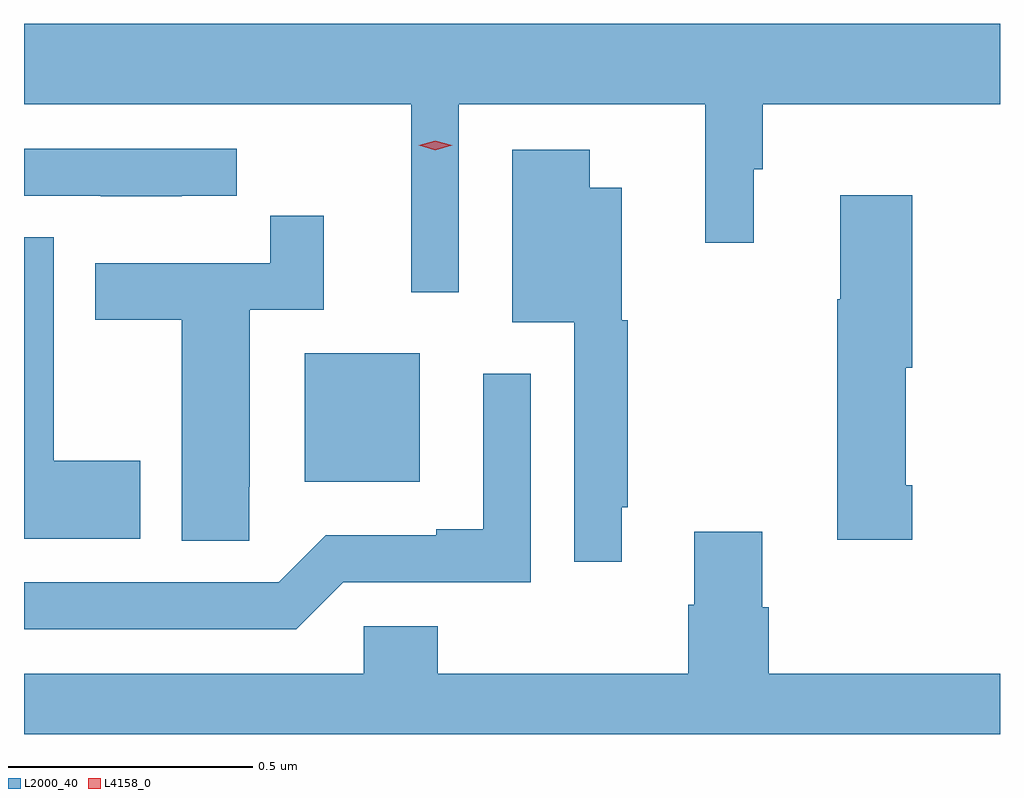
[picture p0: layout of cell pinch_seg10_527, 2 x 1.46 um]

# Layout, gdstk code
import gdstk
lib = gdstk.Library(unit=1e-6, precision=1e-09)
def R(c, l, rs):  # rectangles x0, y0, x1, y1
    for r in rs: c.add(gdstk.rectangle(r[:2], r[2:], *l))
def P(c, l, *ps):  # polygons
    for p in ps: c.add(gdstk.Polygon(p, *l))
L2000_40 = (2000, 40)
L4158_0 = (4158, 0)

pinch_seg10_527 = lib.new_cell('pinch_seg10_527')
R(pinch_seg10_527, L2000_40, [(202.658,1300.874,202.894,1301.137)])
P(pinch_seg10_527, L2000_40, [(202.974,1301.648),(203.479,1301.648),(203.479,1301.364),(203.578,1301.364),(203.578,1301.514),(203.597,1301.514),(203.597,1301.648),(204.083,1301.648),(204.083,1301.812),(202.083,1301.812),(202.083,1301.648),(202.877,1301.648),(202.877,1301.262),(202.974,1301.262)],
  [(202.406,1301.46),(202.519,1301.46),(202.519,1301.556),(202.083,1301.556),(202.083,1301.46),(202.24,1301.46),(202.24,1301.459),(202.406,1301.459)],
  [(203.308,1300.822),(203.32,1300.822),(203.32,1301.205),(203.308,1301.205),(203.308,1301.476),(203.242,1301.476),(203.242,1301.554),(203.084,1301.554),(203.084,1301.201),(203.211,1301.201),(203.211,1300.71),(203.308,1300.71)],
  [(203.903,1300.867),(203.89,1300.867),(203.89,1301.108),(203.903,1301.108),(203.903,1301.461),(203.756,1301.461),(203.756,1301.248),(203.749,1301.248),(203.749,1300.755),(203.903,1300.755)],
  [(202.545,1300.864),(202.546,1300.864),(202.546,1301.226),(202.697,1301.226),(202.697,1301.419),(202.588,1301.419),(202.588,1301.322),(202.229,1301.322),(202.229,1301.206),(202.406,1301.206),(202.406,1300.753),(202.545,1300.753)],
  [(202.321,1300.917),(202.144,1300.917),(202.144,1301.375),(202.083,1301.375),(202.083,1300.757),(202.321,1300.757)],
  [(202.737,1300.668),(203.121,1300.668),(203.121,1301.095),(203.024,1301.095),(203.024,1300.777),(202.928,1300.777),(202.928,1300.764),(202.701,1300.764),(202.605,1300.668),(202.083,1300.668),(202.083,1300.572),(202.641,1300.572)],
  [(204.083,1300.48),(203.609,1300.48),(203.609,1300.617),(203.596,1300.617),(203.596,1300.771),(203.456,1300.771),(203.456,1300.622),(203.444,1300.622),(203.444,1300.48),(202.931,1300.48),(202.931,1300.578),(202.779,1300.578),(202.779,1300.48),(202.083,1300.48),(202.083,1300.357),(204.083,1300.357)])
P(pinch_seg10_527, L4158_0, [(202.926,1301.553),(202.892,1301.563),(202.891,1301.563),(202.892,1301.563),(202.926,1301.573),(202.961,1301.563),(202.961,1301.563),(202.961,1301.563)])

lib.write_gds('pinch_seg10_527.gds')
